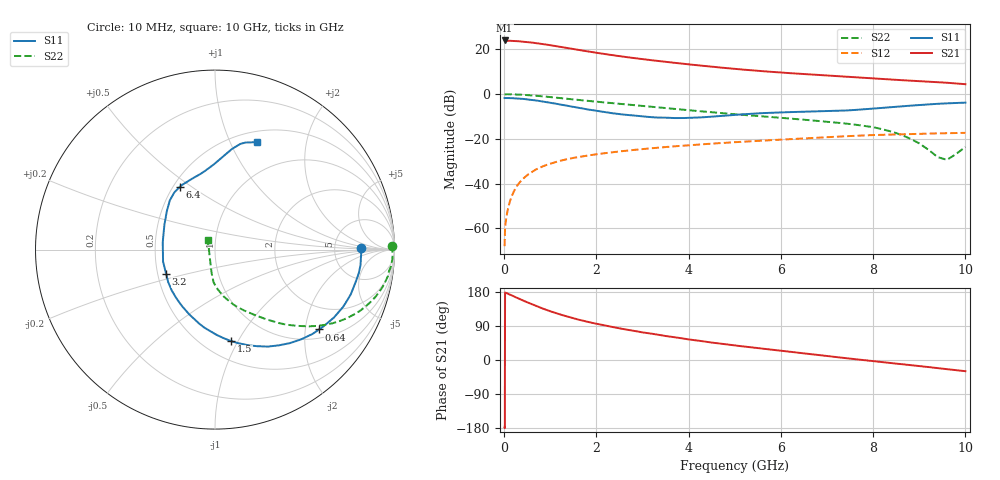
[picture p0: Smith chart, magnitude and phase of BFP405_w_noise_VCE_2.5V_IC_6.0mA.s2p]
! Infineon Technologies  Discrete & RF Semiconductors
! BFP405
! VCE =  2.5 V,  IC =  6.0 mA
! Common Emitter S-Parameters:  Jan 2016
# GHz  S  MA  R  50
!  f  S11  S21  S12  S22
! GHz  MAG  ANG  MAG  ANG  MAG  ANG  MAG  ANG
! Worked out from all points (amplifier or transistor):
!   233 points, 10 MHz to 10 GHz, reference 50 ohm
!   highest |S21| = 23.9 dB at 10 MHz (marker M1)
!   |S21| within 3 dB of that: start of sweep to 1.262 GHz
!   unconditionally stable (mu >= 1): start of sweep to 13.27 MHz; 3.182 GHz to end of sweep
!   at 200 MHz: K = 0.10, MSG = 33.9 dB, |S12| = -44.0 dB
!   at 1.74 GHz: K = 0.61, MSG = 23.5 dB, |S12| = -27.7 dB
!   at 10 GHz: K = 1.43, MAG = 7.0 dB, |S12| = -17.3 dB
!   lowest NFmin = 1.32 dB at 900 MHz
!   S11 on the Smith chart (normalised r, x): 10 MHz: 9.70, +0.49; 640 MHz: 1.24, -2.38; 1.5 GHz: 0.67, -0.94; 3.2 GHz: 0.55, -0.17; 6.4 GHz: 0.54, +0.45; 10 GHz: 0.62, +1.27
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0.01  0.8136 0.6  15.75 -177.8  0.0004 12.2  0.9838 1.3
0.02  0.8149 -0.9  15.64 178.0  0.001 95.0  0.9859 0.0
0.105  0.8149 -6.3  15.52 173.5  0.0034 84.5  0.9899 -2.8
0.26  0.7992 -15.7  15.3 165.1  0.0083 82.8  0.9764 -7.3
0.44  0.7731 -26.3  14.74 155.3  0.0136 77.6  0.9587 -12.1
0.64  0.7306 -37.5  13.95 145.1  0.0193 72.5  0.9262 -17.1
0.8  0.6926 -46.3  13.29 137.4  0.0233 69.0  0.8965 -20.7
1  0.6405 -56.4  12.35 128.6  0.0279 65.0  0.8569 -24.8
1.2  0.5884 -66.2  11.44 120.7  0.032 61.5  0.8164 -28.5
1.5  0.5175 -80.0  10.14 110.1  0.0375 57.3  0.759 -33.1
1.68  0.4794 -87.9  9.452 104.5  0.0403 55.2  0.7271 -35.5
1.98  0.4252 -101.1  8.423 96.1  0.0449 52.2  0.6783 -39.1
2.4  0.3673 -119.3  7.263 85.8  0.0508 48.7  0.6184 -43.3
3.2  0.304 -153.6  5.696 69.4  0.0616 42.8  0.5203 -50.5
3.4  0.2974 -162.5  5.39 65.4  0.0643 41.4  0.4974 -52.3
4  0.2941 171.9  4.609 54.3  0.072 37.3  0.4354 -57.8
5.1  0.3487 139.5  3.579 37.0  0.0852 29.8  0.348 -68.1
6.4  0.4006 119.4  2.842 19.0  0.1011 21.3  0.2728 -78.3
6.8  0.4087 112.2  2.668 13.4  0.1063 18.5  0.2512 -81.4
8.4  0.5117 86.0  2.105 -8.2  0.1247 5.1  0.1448 -96.5
9.6  0.6202 74.1  1.79 -24.2  0.1336 -4.4  0.0339 177.6
10  0.6435 68.5  1.661 -29.5  0.1359 -7.1  0.066 128.4
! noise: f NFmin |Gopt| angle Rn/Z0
0.9  1.32  0.32  10  0.32
1.8  1.58  0.25  16  0.31
2.4  1.71  0.21  23  0.31
3  1.74  0.18  41  0.28
4  1.9  0.07  58  0.25
5  2.27  0.03  180  0.23
